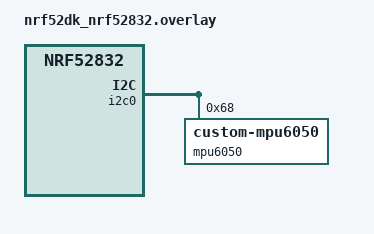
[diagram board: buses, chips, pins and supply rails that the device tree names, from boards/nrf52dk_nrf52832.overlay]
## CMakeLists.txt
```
cmake_minimum_required(VERSION 3.20.0)
find_package(Zephyr REQUIRED HINTS $ENV{ZEPHYR_BASE})

project(driver_lesson)

target_sources(app PRIVATE src/main.c)
add_subdirectory(drivers)
```

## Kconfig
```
# Include Zephyr’s base Kconfig
osource "$ZEPHYR_BASE/Kconfig"

# Include your custom driver Kconfig
rsource "drivers/Kconfig"
```

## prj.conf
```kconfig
CONFIG_SENSOR=y
CONFIG_LOG=y
CONFIG_I2C=y
CONFIG_CUSTOM_MPU6050=y
CONFIG_RTIO=y
```

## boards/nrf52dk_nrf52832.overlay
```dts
// To get started, press Ctrl+Space to bring up the completion menu and view the available nodes.

// You can also use the buttons in the sidebar to perform actions on nodes.
// Actions currently available include:

// * Enabling / disabling the node
// * Adding the bus to a bus
// * Removing the node
// * Connecting ADC channels

// For more help, browse the DeviceTree documentation at https://docs.zephyrproject.org/latest/guides/dts/index.html
// You can also visit the nRF DeviceTree extension documentation at https://docs.nordicsemi.com/bundle/nrf-connect-vscode/page/guides/ncs_configure_app.html#devicetree-support-in-the-extension
&i2c0 {
    mpu6050: mpu6050@68{
        compatible = "zephyr,custom-mpu6050";
        status = "okay";
        reg = < 0x68 >;
    };
};
```

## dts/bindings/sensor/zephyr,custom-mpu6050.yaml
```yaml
description: Custom MPU 6050 6-axis accelerometer & gyroscope

compatible: "zephyr,custom-mpu6050"

include: [sensor-device.yaml, i2c-device.yaml]
```

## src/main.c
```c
/*
 * Copyright (c) 2021 Nordic Semiconductor ASA
 * SPDX-License-Identifier: Apache-2.0
 */

#include <zephyr/kernel.h>
#include <zephyr/drivers/sensor.h>
#include <zephyr/logging/log.h>

LOG_MODULE_REGISTER(Lesson7_Exercise1, LOG_LEVEL_INF);

#define MPU6050_NODE DT_NODELABEL(mpu6050)  // Get the node label for the MPU6050

int main(void)
{	
	const struct device *dev = DEVICE_DT_GET(MPU6050_NODE);
	int err;
	struct sensor_value values[7];
	
	err = device_is_ready(dev);
	if (!err)
	{
		LOG_INF("Error: I2C device is not ready, err: %d", err);
		return 0;
	}
	LOG_INF("Device is ready!");

	sensor_channel_get(dev, SENSOR_CHAN_ALL, values);

	while (1)
	{
		/* Continuously read out sensor data using the sensor API calls */
		err = sensor_sample_fetch(dev);
		if (err < 0)
		{
			LOG_ERR("Could not fetch sample (%d)", err);
			return 0;
		}
		/* Convert all channels*/
		if (sensor_channel_get(dev, SENSOR_CHAN_ALL, values))
		{
			LOG_ERR("Could not get sample");
			//return 0;
		}

		LOG_INF("ACC: X: %d.%d, Y: %d.%d, Z: %d.%d", values[0].val1, values[0].val2, values[1].val1, values[1].val2, values[2].val1, values[2].val2);
		LOG_INF("GYR: X: %d.%d, Y: %d.%d, Z: %d.%d", values[4].val1, values[4].val2, values[5].val1, values[5].val2, values[6].val1, values[6].val2);
		LOG_INF("Temperature: %d.%d *C", values[3].val1, values[3].val2);
		k_sleep(K_MSEC(3000));
	}

	return 0;
}
```
